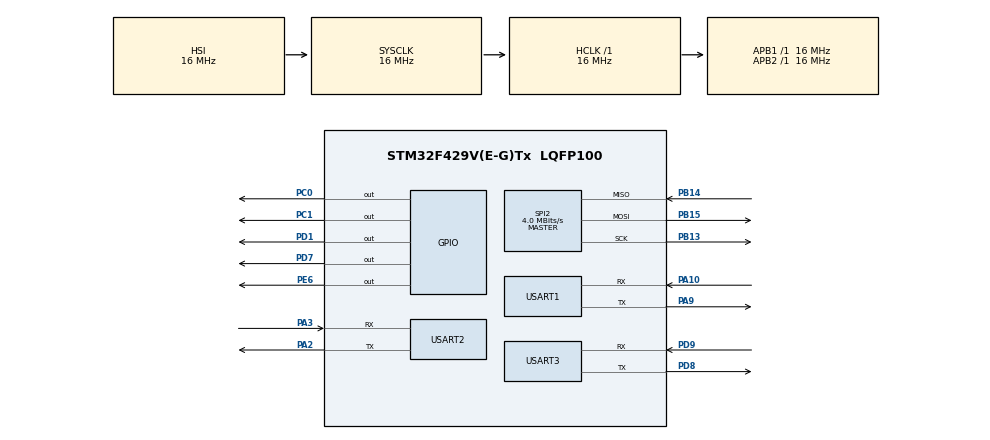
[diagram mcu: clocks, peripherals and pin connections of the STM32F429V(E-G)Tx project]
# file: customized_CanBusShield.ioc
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Mcu.Family=STM32F4
Mcu.Name=STM32F429V(E-G)Tx
Mcu.Package=LQFP100
NVIC.PriorityGroup=NVIC_PRIORITYGROUP_4
PA10.Mode=Asynchronous
PA10.Signal=USART1_RX
PA2.Mode=Asynchronous
PA2.Signal=USART2_TX
PA3.Mode=Asynchronous
PA3.Signal=USART2_RX
PA9.Mode=Asynchronous
PA9.Signal=USART1_TX
PB13.Mode=Full_Duplex_Master
PB13.Signal=SPI2_SCK
PB14.Mode=Full_Duplex_Master
PB14.Signal=SPI2_MISO
PB15.Mode=Full_Duplex_Master
PB15.Signal=SPI2_MOSI
PC0.Signal=GPIO_Output
PC1.Signal=GPIO_Output
PD1.Signal=GPIO_Output
PD7.Signal=GPIO_Output
PD8.Mode=Asynchronous
PD8.Signal=USART3_TX
PD9.Mode=Asynchronous
PD9.Signal=USART3_RX
PE6.Signal=GPIO_Output
ProjectManager.HeapSize=0x200
ProjectManager.StackSize=0x400
ProjectManager.TargetToolchain=STM32CubeIDE
RCC.48MHZClocksFreq_Value=48000000
RCC.AHBFreq_Value=16000000
RCC.APB1Freq_Value=16000000
RCC.APB1TimFreq_Value=16000000
RCC.APB2Freq_Value=16000000
RCC.APB2TimFreq_Value=16000000
RCC.CortexFreq_Value=16000000
RCC.HCLKFreq_Value=16000000
RCC.HSE_VALUE=25000000
RCC.HSI_VALUE=16000000
RCC.LSE_VALUE=32768
RCC.SYSCLKFreq_VALUE=16000000
RCC.VCOOutputFreq_Value=192000000
SPI2.BaudRatePrescaler=SPI_BAUDRATEPRESCALER_4
SPI2.CalculateBaudRate=4.0 MBits/s
SPI2.Direction=SPI_DIRECTION_2LINES
SPI2.Mode=SPI_MODE_MASTER
SPI2.VirtualType=VM_MASTER
USART1.VirtualMode=VM_ASYNC
USART2.VirtualMode=VM_ASYNC
USART3.VirtualMode=VM_ASYNC
board=custom

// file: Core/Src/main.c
/* USER CODE BEGIN Header */
/**
  ******************************************************************************
  * @file           : main.c
  * @brief          : Main program body
  ******************************************************************************
  * @attention
  *
  * Copyright (c) 2025 STMicroelectronics.
  * All rights reserved.
  *
  * This software is licensed under terms that can be found in the LICENSE file
  * in the root directory of this software component.
  * If no LICENSE file comes with this software, it is provided AS-IS.
  *
  ******************************************************************************
  */
/* USER CODE END Header */
#include "main.h"

/* USER CODE BEGIN Includes */
#include "CANSPI.h"
#include "string.h"
#include "stdio.h"
#include "stdint.h"
#include "MCP2515_CAN.h"

/* USER CODE END Includes */

/* USER CODE BEGIN PTD */

uCAN_MSG txMessage;
uCAN_MSG rxMessage;

/* USER CODE END PTD */

SPI_HandleTypeDef hspi2;

UART_HandleTypeDef huart1;
UART_HandleTypeDef huart2;
UART_HandleTypeDef huart3;

void SystemClock_Config(void);
static void MX_GPIO_Init(void);
static void MX_USART1_UART_Init(void);
static void MX_USART2_UART_Init(void);
static void MX_SPI2_Init(void);
static void MX_USART3_UART_Init(void);

/* USER CODE BEGIN 0 */
void Print_Debug_Msg(char *buffer2);
/* USER CODE END 0 */

int main(void)
{

  /* MCU Configuration--------------------------------------------------------*/

  /* Reset of all peripherals, Initializes the Flash interface and the Systick. */
  HAL_Init();

  /* Configure the system clock */
  SystemClock_Config();

  /* Initialize all configured peripherals */
  MX_GPIO_Init();
  MX_USART1_UART_Init();
  MX_USART2_UART_Init();
  MX_SPI2_Init();
  MX_USART3_UART_Init();
  /* USER CODE BEGIN 2 */
  MCP2515_CS(GPIOC,GPIO_PIN_0);
  if(CANSPI_Initialize(MCP_16MHz,1000,MODE_NORMAL))
  {
	  Print_Debug_Msg("CAN initialized successfully\n");

  }
  /* USER CODE END 2 */

  /* Infinite loop */
  /* USER CODE BEGIN WHILE */
  while (1)
  {
	 // CDC_Transmit_FS((uint8_t*)data, strlen(data));
     // HAL_Delay(1000); // 1 second delay
	  Print_Debug_Msg("Hallo world\n");

		txMessage.frame.id = 0x70;                     // Set the CAN ID to 0x70
		txMessage.frame.idType = 0x00; // Set the CAN ID type (standard or extended, set as needed)
		txMessage.frame.dlc = 8;               // Set the data length to 8 bytes

		txMessage.frame.data0 = 1;
		txMessage.frame.data1 = 1;
		txMessage.frame.data2 = 2;
		txMessage.frame.data3 = 2;
		txMessage.frame.data4 = 3;
		txMessage.frame.data5 = 3;
		txMessage.frame.data6 = 4;
		txMessage.frame.data7 = 4;
		CANSPI_Transmit(&txMessage);

		HAL_GPIO_WritePin(GPIOC, GPIO_PIN_1, GPIO_PIN_SET);
		HAL_GPIO_WritePin(GPIOD, GPIO_PIN_1, GPIO_PIN_SET);

		HAL_GPIO_TogglePin(GPIOE, GPIO_PIN_6);
		HAL_GPIO_TogglePin(GPIOD, GPIO_PIN_7);
		HAL_Delay(1000);
    /* USER CODE END WHILE */

  }
}

void SystemClock_Config(void)
{
  RCC_OscInitTypeDef RCC_OscInitStruct = {0};
  RCC_ClkInitTypeDef RCC_ClkInitStruct = {0};

  /** Configure the main internal regulator output voltage
  */
  __HAL_RCC_PWR_CLK_ENABLE();
  __HAL_PWR_VOLTAGESCALING_CONFIG(PWR_REGULATOR_VOLTAGE_SCALE3);

  /** Initializes the RCC Oscillators according to the specified parameters
  * in the RCC_OscInitTypeDef structure.
  */
  RCC_OscInitStruct.OscillatorType = RCC_OSCILLATORTYPE_HSI;
  RCC_OscInitStruct.HSIState = RCC_HSI_ON;
  RCC_OscInitStruct.HSICalibrationValue = RCC_HSICALIBRATION_DEFAULT;
  RCC_OscInitStruct.PLL.PLLState = RCC_PLL_NONE;
  if (HAL_RCC_OscConfig(&RCC_OscInitStruct) != HAL_OK)
  {
    Error_Handler();
  }

  /** Initializes the CPU, AHB and APB buses clocks
  */
  RCC_ClkInitStruct.ClockType = RCC_CLOCKTYPE_HCLK|RCC_CLOCKTYPE_SYSCLK
                              |RCC_CLOCKTYPE_PCLK1|RCC_CLOCKTYPE_PCLK2;
  RCC_ClkInitStruct.SYSCLKSource = RCC_SYSCLKSOURCE_HSI;
  RCC_ClkInitStruct.AHBCLKDivider = RCC_SYSCLK_DIV1;
  RCC_ClkInitStruct.APB1CLKDivider = RCC_HCLK_DIV1;
  RCC_ClkInitStruct.APB2CLKDivider = RCC_HCLK_DIV1;

  if (HAL_RCC_ClockConfig(&RCC_ClkInitStruct, FLASH_LATENCY_0) != HAL_OK)
  {
    Error_Handler();
  }
}

static void MX_SPI2_Init(void)
{

  /* SPI2 parameter configuration*/
  hspi2.Instance = SPI2;
  hspi2.Init.Mode = SPI_MODE_MASTER;
  hspi2.Init.Direction = SPI_DIRECTION_2LINES;
  hspi2.Init.DataSize = SPI_DATASIZE_8BIT;
  hspi2.Init.CLKPolarity = SPI_POLARITY_LOW;
  hspi2.Init.CLKPhase = SPI_PHASE_1EDGE;
  hspi2.Init.NSS = SPI_NSS_SOFT;
  hspi2.Init.BaudRatePrescaler = SPI_BAUDRATEPRESCALER_4;
  hspi2.Init.FirstBit = SPI_FIRSTBIT_MSB;
  hspi2.Init.TIMode = SPI_TIMODE_DISABLE;
  hspi2.Init.CRCCalculation = SPI_CRCCALCULATION_DISABLE;
  hspi2.Init.CRCPolynomial = 10;
  if (HAL_SPI_Init(&hspi2) != HAL_OK)
  {
    Error_Handler();
  }

}

static void MX_USART1_UART_Init(void)
{

  huart1.Instance = USART1;
  huart1.Init.BaudRate = 115200;
  huart1.Init.WordLength = UART_WORDLENGTH_8B;
  huart1.Init.StopBits = UART_STOPBITS_1;
  huart1.Init.Parity = UART_PARITY_NONE;
  huart1.Init.Mode = UART_MODE_TX_RX;
  huart1.Init.HwFlowCtl = UART_HWCONTROL_NONE;
  huart1.Init.OverSampling = UART_OVERSAMPLING_16;
  if (HAL_UART_Init(&huart1) != HAL_OK)
  {
    Error_Handler();
  }

}

static void MX_USART2_UART_Init(void)
{

  huart2.Instance = USART2;
  huart2.Init.BaudRate = 115200;
  huart2.Init.WordLength = UART_WORDLENGTH_8B;
  huart2.Init.StopBits = UART_STOPBITS_1;
  huart2.Init.Parity = UART_PARITY_NONE;
  huart2.Init.Mode = UART_MODE_TX_RX;
  huart2.Init.HwFlowCtl = UART_HWCONTROL_NONE;
  huart2.Init.OverSampling = UART_OVERSAMPLING_16;
  if (HAL_UART_Init(&huart2) != HAL_OK)
  {
    Error_Handler();
  }

}

static void MX_USART3_UART_Init(void)
{

  huart3.Instance = USART3;
  huart3.Init.BaudRate = 115200;
  huart3.Init.WordLength = UART_WORDLENGTH_8B;
  huart3.Init.StopBits = UART_STOPBITS_1;
  huart3.Init.Parity = UART_PARITY_NONE;
  huart3.Init.Mode = UART_MODE_TX_RX;
  huart3.Init.HwFlowCtl = UART_HWCONTROL_NONE;
  huart3.Init.OverSampling = UART_OVERSAMPLING_16;
  if (HAL_UART_Init(&huart3) != HAL_OK)
  {
    Error_Handler();
  }

}

static void MX_GPIO_Init(void)
{
  GPIO_InitTypeDef GPIO_InitStruct = {0};

  /* GPIO Ports Clock Enable */
  __HAL_RCC_GPIOE_CLK_ENABLE();
  __HAL_RCC_GPIOC_CLK_ENABLE();
  __HAL_RCC_GPIOA_CLK_ENABLE();
  __HAL_RCC_GPIOB_CLK_ENABLE();
  __HAL_RCC_GPIOD_CLK_ENABLE();

  /*Configure GPIO pin Output Level */
  HAL_GPIO_WritePin(GPIOE, GPIO_PIN_6, GPIO_PIN_RESET);

  /*Configure GPIO pin Output Level */
  HAL_GPIO_WritePin(GPIOC, GPIO_PIN_0|GPIO_PIN_1, GPIO_PIN_RESET);

  /*Configure GPIO pin Output Level */
  HAL_GPIO_WritePin(GPIOD, GPIO_PIN_1|GPIO_PIN_7, GPIO_PIN_RESET);

  /*Configure GPIO pin : PE6 */
  GPIO_InitStruct.Pin = GPIO_PIN_6;
  GPIO_InitStruct.Mode = GPIO_MODE_OUTPUT_PP;
  GPIO_InitStruct.Pull = GPIO_NOPULL;
  GPIO_InitStruct.Speed = GPIO_SPEED_FREQ_LOW;
  HAL_GPIO_Init(GPIOE, &GPIO_InitStruct);

  /*Configure GPIO pins : PC0 PC1 */
  GPIO_InitStruct.Pin = GPIO_PIN_0|GPIO_PIN_1;
  GPIO_InitStruct.Mode = GPIO_MODE_OUTPUT_PP;
  GPIO_InitStruct.Pull = GPIO_NOPULL;
  GPIO_InitStruct.Speed = GPIO_SPEED_FREQ_LOW;
  HAL_GPIO_Init(GPIOC, &GPIO_InitStruct);

  /*Configure GPIO pins : PD1 PD7 */
  GPIO_InitStruct.Pin = GPIO_PIN_1|GPIO_PIN_7;
  GPIO_InitStruct.Mode = GPIO_MODE_OUTPUT_PP;
  GPIO_InitStruct.Pull = GPIO_NOPULL;
  GPIO_InitStruct.Speed = GPIO_SPEED_FREQ_LOW;
  HAL_GPIO_Init(GPIOD, &GPIO_InitStruct);

}

/* USER CODE BEGIN 4 */
void Print_Debug_Msg(char *buffer2)
{
	HAL_UART_Transmit(&huart2, (uint8_t *)buffer2, strlen(buffer2), 0xffff);
}
/* USER CODE END 4 */

void Error_Handler(void)
{
  __disable_irq();
  while (1)
  {
  }
}
